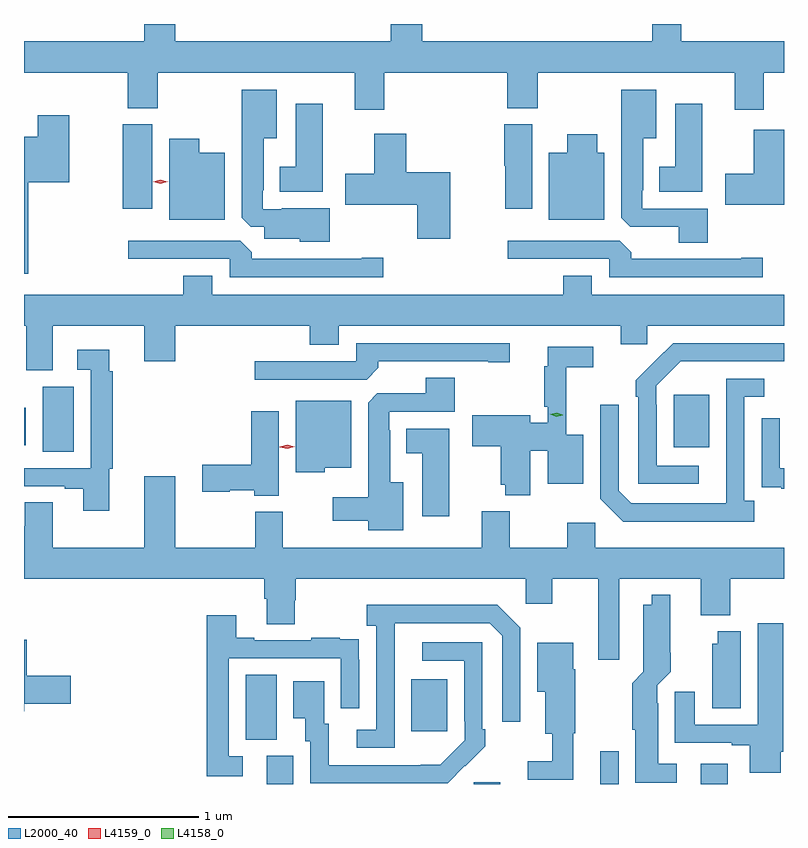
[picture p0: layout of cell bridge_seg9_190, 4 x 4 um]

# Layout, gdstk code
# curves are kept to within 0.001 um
import gdstk
lib = gdstk.Library(unit=1e-6, precision=1e-09)
def R(c, l, rs):  # rectangles x0, y0, x1, y1
    for r in rs: c.add(gdstk.rectangle(r[:2], r[2:], *l))
def P(c, l, *ps):  # polygons
    for p in ps: c.add(gdstk.Polygon(p, *l))
L2000_40 = (2000, 40)
L4158_0 = (4158, 0)
L4159_0 = (4159, 0)

bridge_seg9_190 = lib.new_cell('bridge_seg9_190')
R(bridge_seg9_190, L2000_40, [(213.605,1200.668,213.745,1200.816), (214.695,1200.668,214.834,1200.678), (215.36,1200.668,215.457,1200.841), (215.891,1200.668,216.031,1200.775), (213.494,1200.901,213.658,1201.244), (214.367,1200.945,214.555,1201.219), (212.426,1202.416,212.59,1202.76), (215.747,1202.441,215.935,1202.716), (212.328,1202.451,212.338,1202.647), (212.849,1203.696,213.004,1204.14)])
P(bridge_seg9_190, L2000_40, [(214.223,1204.412),(214.871,1204.412),(214.871,1204.225),(215.031,1204.225),(215.031,1204.412),(216.068,1204.412),(216.068,1204.218),(216.221,1204.218),(216.221,1204.412),(216.328,1204.412),(216.328,1204.576),(215.786,1204.576),(215.786,1204.668),(215.634,1204.668),(215.634,1204.576),(214.424,1204.576),(214.424,1204.668),(214.259,1204.668),(214.259,1204.576),(213.124,1204.576),(213.124,1204.668),(212.96,1204.668),(212.96,1204.576),(212.328,1204.576),(212.328,1204.412),(212.873,1204.412),(212.873,1204.225),(213.033,1204.225),(213.033,1204.412),(214.07,1204.412),(214.07,1204.218),(214.223,1204.218)],
  [(213.937,1203.697),(213.685,1203.697),(213.685,1203.693),(213.585,1203.693),(213.585,1203.793),(213.589,1203.793),(213.589,1204.067),(213.658,1204.067),(213.658,1204.321),(213.473,1204.321),(213.473,1203.649),(213.522,1203.6),(213.593,1203.6),(213.593,1203.539),(213.78,1203.539),(213.78,1203.521),(213.937,1203.521)],
  [(215.927,1203.696),(215.583,1203.696),(215.583,1203.793),(215.587,1203.793),(215.587,1204.067),(215.656,1204.067),(215.656,1204.321),(215.471,1204.321),(215.471,1203.649),(215.52,1203.6),(215.774,1203.6),(215.774,1203.517),(215.927,1203.517)],
  [(213.901,1204.249),(213.758,1204.249),(213.758,1203.916),(213.674,1203.916),(213.674,1203.785),(213.901,1203.785)],
  [(215.899,1204.249),(215.756,1204.249),(215.756,1203.916),(215.672,1203.916),(215.672,1203.785),(215.899,1203.785)],
  [(212.351,1203.836),(212.566,1203.836),(212.566,1204.189),(212.401,1204.189),(212.401,1204.075),(212.328,1204.075),(212.328,1203.354),(212.351,1203.354)],
  [(215.002,1204.14),(214.856,1204.14),(214.856,1203.921),(214.861,1203.921),(214.861,1203.696),(215.002,1203.696)],
  [(216.328,1204.111),(216.17,1204.111),(216.17,1203.879),(216.018,1203.879),(216.018,1203.716),(216.328,1203.716)],
  [(214.572,1203.889),(214.34,1203.889),(214.34,1204.09),(214.172,1204.09),(214.172,1203.879),(214.02,1203.879),(214.02,1203.716),(214.399,1203.716),(214.399,1203.537),(214.572,1203.537)],
  [(215.383,1203.991),(215.344,1203.991),(215.344,1204.087),(215.186,1204.087),(215.186,1203.991),(215.09,1203.991),(215.09,1203.638),(215.383,1203.638)],
  [(213.385,1203.991),(213.25,1203.991),(213.25,1204.063),(213.092,1204.063),(213.092,1203.638),(213.385,1203.638)],
  [(216.217,1203.437),(216.104,1203.437),(216.104,1203.432),(215.525,1203.432),(215.525,1203.466),(215.463,1203.528),(214.875,1203.528),(214.875,1203.432),(215.409,1203.432),(215.409,1203.336),(216.217,1203.336)],
  [(214.219,1203.437),(214.106,1203.437),(214.106,1203.432),(213.527,1203.432),(213.527,1203.466),(213.465,1203.528),(212.877,1203.528),(212.877,1203.432),(213.411,1203.432),(213.411,1203.336),(214.219,1203.336)],
  [(212.479,1203.08),(212.96,1203.08),(212.96,1202.892),(213.124,1202.892),(213.124,1203.08),(213.833,1203.08),(213.833,1202.981),(213.985,1202.981),(213.985,1203.08),(215.468,1203.08),(215.468,1202.982),(215.607,1202.982),(215.607,1203.08),(216.328,1203.08),(216.328,1203.244),(215.317,1203.244),(215.317,1203.343),(215.165,1203.343),(215.165,1203.244),(213.319,1203.244),(213.319,1203.343),(213.167,1203.343),(213.167,1203.244),(212.328,1203.244),(212.328,1203.08),(212.339,1203.08),(212.339,1202.845),(212.479,1202.845)],
  [(214.193,1202.858),(214.193,1202.892),(214.772,1202.892),(214.772,1202.887),(214.885,1202.887),(214.885,1202.988),(214.077,1202.988),(214.077,1202.892),(213.543,1202.892),(213.543,1202.796),(214.131,1202.796)],
  [(215.878,1202.343),(215.658,1202.343),(215.658,1202.663),(215.655,1202.663),(215.655,1202.763),(215.784,1202.892),(216.328,1202.892),(216.328,1202.988),(215.744,1202.988),(215.547,1202.793),(215.547,1202.705),(215.562,1202.705),(215.562,1202.247),(215.878,1202.247)],
  [(214.993,1202.423),(215.084,1202.423),(215.084,1202.249),(215.272,1202.249),(215.272,1202.506),(215.183,1202.506),(215.183,1202.862),(215.323,1202.862),(215.323,1202.97),(215.084,1202.97),(215.084,1202.867),(215.065,1202.867),(215.065,1202.653),(215.085,1202.653),(215.085,1202.57),(214.993,1202.57),(214.993,1202.608),(214.686,1202.608),(214.686,1202.446),(214.838,1202.446),(214.838,1202.243),(214.861,1202.243),(214.861,1202.189),(214.993,1202.189)],
  [(212.777,1202.328),(212.795,1202.328),(212.795,1202.84),(212.777,1202.84),(212.777,1202.953),(212.607,1202.953),(212.607,1202.847),(212.679,1202.847),(212.679,1202.331),(212.328,1202.331),(212.328,1202.235),(212.543,1202.235),(212.543,1202.223),(212.639,1202.223),(212.639,1202.106),(212.777,1202.106)],
  [(214.324,1202.257),(214.255,1202.257),(214.255,1202.531),(214.251,1202.531),(214.251,1202.628),(214.595,1202.628),(214.595,1202.807),(214.442,1202.807),(214.442,1202.724),(214.188,1202.724),(214.139,1202.675),(214.139,1202.176),(213.954,1202.176),(213.954,1202.054),(214.139,1202.054),(214.139,1202.003),(214.324,1202.003)],
  [(216.172,1202.158),(216.12,1202.158),(216.12,1202.706),(216.223,1202.706),(216.223,1202.802),(216.024,1202.802),(216.023,1202.145),(215.523,1202.145),(215.457,1202.211),(215.457,1202.665),(215.361,1202.665),(215.361,1202.169),(215.482,1202.048),(216.172,1202.048)],
  [(213.912,1202.333),(214.051,1202.333),(214.051,1202.686),(213.758,1202.686),(213.758,1202.309),(213.912,1202.309)],
  [(213.67,1202.629),(213.524,1202.629),(213.524,1202.348),(213.267,1202.348),(213.267,1202.206),(213.41,1202.206),(213.41,1202.213),(213.54,1202.213),(213.54,1202.186),(213.67,1202.186)],
  [(216.328,1202.331),(216.306,1202.331),(216.306,1202.593),(216.21,1202.593),(216.21,1202.338),(216.211,1202.338),(216.211,1202.229),(216.313,1202.229),(216.313,1202.223),(216.328,1202.223)],
  [(214.567,1202.539),(214.34,1202.539),(214.34,1202.408),(214.424,1202.408),(214.424,1202.076),(214.567,1202.076)],
  [(215.461,1201.748),(215.891,1201.748),(215.891,1201.556),(216.044,1201.556),(216.044,1201.748),(216.328,1201.748),(216.328,1201.912),(215.334,1201.912),(215.334,1202.044),(215.188,1202.044),(215.188,1201.912),(214.884,1201.912),(214.884,1202.104),(214.736,1202.104),(214.736,1201.912),(213.691,1201.912),(213.691,1202.101),(213.544,1202.101),(213.544,1201.912),(213.124,1201.912),(213.124,1202.287),(212.96,1202.287),(212.96,1201.912),(212.479,1201.912),(212.479,1202.15),(212.332,1202.15),(212.332,1202.025),(212.328,1202.025),(212.328,1201.748),(213.593,1201.748),(213.593,1201.642),(213.605,1201.642),(213.605,1201.51),(213.753,1201.51),(213.753,1201.635),(213.758,1201.635),(213.758,1201.748),(214.968,1201.748),(214.968,1201.617),(215.107,1201.617),(215.107,1201.748),(215.351,1201.748),(215.351,1201.323),(215.461,1201.323)],
  [(215.764,1200.775),(215.665,1200.775),(215.665,1201.094),(215.661,1201.094),(215.661,1201.188),(215.731,1201.258),(215.73,1201.663),(215.633,1201.663),(215.633,1201.612),(215.588,1201.612),(215.588,1201.258),(215.528,1201.199),(215.528,1200.954),(215.546,1200.954),(215.546,1200.674),(215.764,1200.674)],
  [(214.278,1201.315),(214.279,1201.515),(214.779,1201.515),(214.845,1201.449),(214.845,1200.996),(214.941,1200.996),(214.941,1201.491),(214.82,1201.612),(214.131,1201.612),(214.131,1201.502),(214.182,1201.502),(214.182,1200.954),(214.08,1200.954),(214.08,1200.858),(214.278,1200.858)],
  [(213.478,1200.813),(213.405,1200.813),(213.405,1201.329),(213.996,1201.329),(213.996,1201.068),(214.092,1201.068),(214.092,1201.322),(214.091,1201.322),(214.091,1201.431),(213.989,1201.431),(213.989,1201.438),(213.841,1201.438),(213.841,1201.425),(213.541,1201.425),(213.541,1201.438),(213.445,1201.438),(213.445,1201.555),(213.289,1201.555),(213.289,1200.708),(213.478,1200.708)],
  [(216.31,1200.838),(216.323,1200.838),(216.323,1201.513),(216.191,1201.513),(216.191,1200.981),(215.857,1200.981),(215.857,1201.153),(215.753,1201.153),(215.753,1200.885),(216.053,1200.885),(216.053,1200.873),(216.149,1200.873),(216.149,1200.726),(216.31,1200.726)],
  [(216.1,1201.471),(215.978,1201.471),(215.978,1201.407),(215.951,1201.407),(215.951,1201.066),(216.1,1201.066)],
  [(212.329,1201.091),(212.575,1201.091),(212.575,1201.238),(212.342,1201.238),(212.342,1201.426),(212.328,1201.426),(212.328,1201.052),(212.329,1201.052)],
  [(214.649,1200.763),(214.65,1200.762),(214.755,1200.867),(214.755,1200.955),(214.74,1200.955),(214.74,1201.413),(214.425,1201.413),(214.425,1201.317),(214.644,1201.317),(214.644,1200.997),(214.647,1200.997),(214.647,1200.897),(214.519,1200.769),(213.931,1200.768),(213.931,1200.984),(213.907,1200.984),(213.907,1201.21),(213.746,1201.21),(213.746,1201.013),(213.809,1201.013),(213.809,1200.894),(213.834,1200.894),(213.834,1200.672),(214.558,1200.672)],
  [(215.218,1200.936),(215.23,1200.936),(215.23,1201.272),(215.218,1201.272),(215.218,1201.411),(215.03,1201.411),(215.03,1201.154),(215.072,1201.154),(215.072,1200.932),(215.109,1200.932),(215.109,1200.787),(214.98,1200.787),(214.98,1200.69),(215.218,1200.69)])
P(bridge_seg9_190, L4158_0, [(215.129,1202.602),(215.097,1202.614),(215.097,1202.614),(215.097,1202.614),(215.131,1202.622),(215.163,1202.611),(215.163,1202.61),(215.163,1202.61)])
P(bridge_seg9_190, L4159_0, [(213.713,1202.433),(213.675,1202.441),(213.674,1202.442),(213.675,1202.442),(213.713,1202.453),(213.752,1202.444),(213.752,1202.444),(213.752,1202.443)],
  [(213.046,1203.828),(213.008,1203.837),(213.008,1203.838),(213.008,1203.838),(213.046,1203.848),(213.084,1203.838),(213.085,1203.838),(213.084,1203.838)])

lib.write_gds('bridge_seg9_190.gds')
